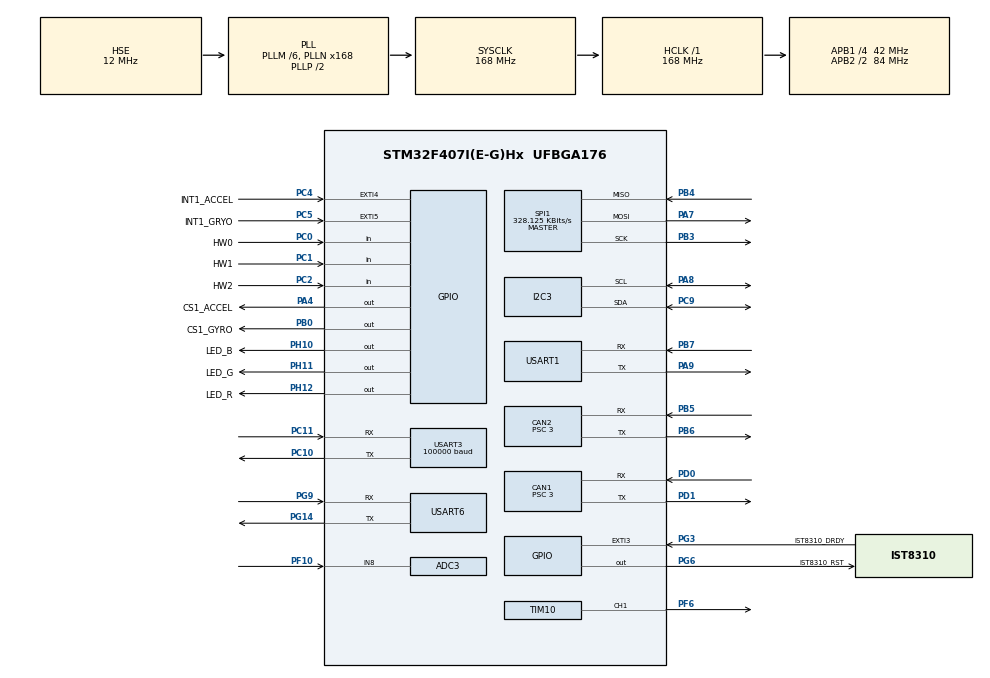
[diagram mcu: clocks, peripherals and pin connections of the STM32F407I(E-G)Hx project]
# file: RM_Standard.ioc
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ADC1.Channel-0\#ChannelRegularConversion=ADC_CHANNEL_VREFINT
ADC1.NbrOfConversionFlag=1
ADC1.Rank-0\#ChannelRegularConversion=1
ADC1.SamplingTime-0\#ChannelRegularConversion=ADC_SAMPLETIME_3CYCLES
ADC1.master=1
ADC3.Channel-0\#ChannelRegularConversion=ADC_CHANNEL_8
ADC3.NbrOfConversionFlag=1
ADC3.Rank-0\#ChannelRegularConversion=1
ADC3.SamplingTime-0\#ChannelRegularConversion=ADC_SAMPLETIME_3CYCLES
CAN1.BS1=CAN_BS1_10TQ
CAN1.BS2=CAN_BS2_3TQ
CAN1.CalculateBaudRate=1000000
CAN1.CalculateTimeBit=1000
CAN1.CalculateTimeQuantum=71.42857142857143
CAN1.Prescaler=3
CAN2.BS1=CAN_BS1_10TQ
CAN2.BS2=CAN_BS2_3TQ
CAN2.CalculateBaudRate=1000000
CAN2.CalculateTimeBit=1000
CAN2.CalculateTimeQuantum=71.42857142857143
CAN2.Prescaler=3
Dma.Request0=SPI1_RX
Dma.Request1=SPI1_TX
Dma.Request2=USART1_TX
Dma.Request3=USART3_RX
Dma.Request4=USART6_RX
Dma.Request5=USART6_TX
Dma.SPI1_RX.0.Direction=DMA_PERIPH_TO_MEMORY
Dma.SPI1_RX.0.FIFOMode=DMA_FIFOMODE_DISABLE
Dma.SPI1_RX.0.Instance=DMA2_Stream2
Dma.SPI1_RX.0.MemDataAlignment=DMA_MDATAALIGN_BYTE
Dma.SPI1_RX.0.MemInc=DMA_MINC_ENABLE
Dma.SPI1_RX.0.Mode=DMA_NORMAL
Dma.SPI1_RX.0.PeriphDataAlignment=DMA_PDATAALIGN_BYTE
Dma.SPI1_RX.0.PeriphInc=DMA_PINC_DISABLE
Dma.SPI1_RX.0.Priority=DMA_PRIORITY_VERY_HIGH
Dma.SPI1_TX.1.Direction=DMA_MEMORY_TO_PERIPH
Dma.SPI1_TX.1.FIFOMode=DMA_FIFOMODE_DISABLE
Dma.SPI1_TX.1.Instance=DMA2_Stream3
Dma.SPI1_TX.1.MemDataAlignment=DMA_MDATAALIGN_BYTE
Dma.SPI1_TX.1.MemInc=DMA_MINC_ENABLE
Dma.SPI1_TX.1.Mode=DMA_NORMAL
Dma.SPI1_TX.1.PeriphDataAlignment=DMA_PDATAALIGN_BYTE
Dma.SPI1_TX.1.PeriphInc=DMA_PINC_DISABLE
Dma.SPI1_TX.1.Priority=DMA_PRIORITY_HIGH
Dma.USART1_TX.2.Direction=DMA_MEMORY_TO_PERIPH
Dma.USART1_TX.2.FIFOMode=DMA_FIFOMODE_DISABLE
Dma.USART1_TX.2.Instance=DMA2_Stream7
Dma.USART1_TX.2.MemDataAlignment=DMA_MDATAALIGN_BYTE
Dma.USART1_TX.2.MemInc=DMA_MINC_ENABLE
Dma.USART1_TX.2.Mode=DMA_NORMAL
Dma.USART1_TX.2.PeriphDataAlignment=DMA_PDATAALIGN_BYTE
Dma.USART1_TX.2.PeriphInc=DMA_PINC_DISABLE
Dma.USART1_TX.2.Priority=DMA_PRIORITY_VERY_HIGH
Dma.USART3_RX.3.Direction=DMA_PERIPH_TO_MEMORY
Dma.USART3_RX.3.FIFOMode=DMA_FIFOMODE_DISABLE
Dma.USART3_RX.3.Instance=DMA1_Stream1
Dma.USART3_RX.3.MemDataAlignment=DMA_MDATAALIGN_BYTE
Dma.USART3_RX.3.MemInc=DMA_MINC_ENABLE
Dma.USART3_RX.3.Mode=DMA_CIRCULAR
Dma.USART3_RX.3.PeriphDataAlignment=DMA_PDATAALIGN_BYTE
Dma.USART3_RX.3.PeriphInc=DMA_PINC_DISABLE
Dma.USART3_RX.3.Priority=DMA_PRIORITY_VERY_HIGH
Dma.USART6_RX.4.Direction=DMA_PERIPH_TO_MEMORY
Dma.USART6_RX.4.FIFOMode=DMA_FIFOMODE_DISABLE
Dma.USART6_RX.4.Instance=DMA2_Stream1
Dma.USART6_RX.4.MemDataAlignment=DMA_MDATAALIGN_BYTE
Dma.USART6_RX.4.MemInc=DMA_MINC_ENABLE
Dma.USART6_RX.4.Mode=DMA_NORMAL
Dma.USART6_RX.4.PeriphDataAlignment=DMA_PDATAALIGN_BYTE
Dma.USART6_RX.4.PeriphInc=DMA_PINC_DISABLE
Dma.USART6_RX.4.Priority=DMA_PRIORITY_HIGH
Dma.USART6_TX.5.Direction=DMA_MEMORY_TO_PERIPH
Dma.USART6_TX.5.FIFOMode=DMA_FIFOMODE_DISABLE
Dma.USART6_TX.5.Instance=DMA2_Stream6
Dma.USART6_TX.5.MemDataAlignment=DMA_MDATAALIGN_BYTE
Dma.USART6_TX.5.MemInc=DMA_MINC_ENABLE
Dma.USART6_TX.5.Mode=DMA_NORMAL
Dma.USART6_TX.5.PeriphDataAlignment=DMA_PDATAALIGN_BYTE
Dma.USART6_TX.5.PeriphInc=DMA_PINC_DISABLE
Dma.USART6_TX.5.Priority=DMA_PRIORITY_MEDIUM
FREERTOS.Tasks01=defaultTask,0,128,StartDefaultTask,Default,NULL,Dynamic,NULL,NULL;LED_BLUE,0,128,blue_led_task,As external,NULL,Dynamic,NULL,NULL;SysStatus,0,128,entry_SysStatus,As external,NULL,Dynamic,NULL,NULL;CAN_motor,0,128,entry_motor,As external,NULL,Dynamic,NULL,NULL
I2C3.I2C_Mode=I2C_Fast
Mcu.Family=STM32F4
Mcu.Name=STM32F407I(E-G)Hx
Mcu.Package=UFBGA176
NVIC.CAN1_RX0_IRQn=true\:5\:0\:false\:false\:true\:true\:true\:true\:true
NVIC.DMA1_Stream1_IRQn=true\:5\:0\:false\:false\:true\:true\:false\:true\:true
NVIC.DMA2_Stream1_IRQn=true\:5\:0\:false\:false\:true\:true\:false\:true\:true
NVIC.DMA2_Stream2_IRQn=true\:5\:0\:true\:false\:true\:true\:false\:true\:true
NVIC.DMA2_Stream3_IRQn=true\:5\:0\:false\:false\:true\:true\:false\:true\:true
NVIC.DMA2_Stream6_IRQn=true\:5\:0\:false\:false\:true\:true\:false\:true\:true
NVIC.DMA2_Stream7_IRQn=true\:5\:0\:false\:false\:true\:true\:false\:true\:true
NVIC.EXTI3_IRQn=true\:5\:0\:false\:false\:true\:true\:true\:true\:true
NVIC.EXTI4_IRQn=true\:5\:0\:false\:false\:true\:true\:true\:true\:true
NVIC.PriorityGroup=NVIC_PRIORITYGROUP_4
NVIC.TIM1_UP_TIM10_IRQn=true\:5\:0\:false\:false\:true\:false\:false\:true\:true
NVIC.USART1_IRQn=true\:5\:0\:false\:false\:true\:true\:true\:true\:true
NVIC.USART3_IRQn=true\:5\:0\:false\:false\:true\:true\:true\:true\:true
NVIC.USART6_IRQn=true\:5\:0\:false\:false\:true\:true\:true\:true\:true
PA13.Mode=Serial_Wire
PA13.Signal=SYS_JTMS-SWDIO
PA14.Mode=Serial_Wire
PA14.Signal=SYS_JTCK-SWCLK
PA4.GPIO_Label=CS1_ACCEL
PA4.GPIO_PuPd=GPIO_PULLUP
PA4.GPIO_Speed=GPIO_SPEED_FREQ_HIGH
PA4.PinState=GPIO_PIN_SET
PA4.Signal=GPIO_Output
PA7.Mode=Full_Duplex_Master
PA7.Signal=SPI1_MOSI
PA8.Mode=I2C
PA8.Signal=I2C3_SCL
PA9.Mode=Asynchronous
PA9.Signal=USART1_TX
PB0.GPIO_Label=CS1_GYRO
PB0.GPIO_PuPd=GPIO_PULLUP
PB0.GPIO_Speed=GPIO_SPEED_FREQ_HIGH
PB0.PinState=GPIO_PIN_SET
PB0.Signal=GPIO_Output
PB3.Mode=Full_Duplex_Master
PB3.Signal=SPI1_SCK
PB4.Mode=Full_Duplex_Master
PB4.Signal=SPI1_MISO
PB5.Mode=CAN_Activate
PB5.Signal=CAN2_RX
PB6.Mode=CAN_Activate
PB6.Signal=CAN2_TX
PB7.Mode=Asynchronous
PB7.Signal=USART1_RX
PC0.GPIO_Label=HW0
PC0.Signal=GPIO_Input
PC1.GPIO_Label=HW1
PC1.Signal=GPIO_Input
PC10.GPIO_PuPd=GPIO_PULLUP
PC10.Mode=Asynchronous
PC10.Signal=USART3_TX
PC11.GPIO_PuPd=GPIO_PULLUP
PC11.Mode=Asynchronous
PC11.Signal=USART3_RX
PC2.GPIO_Label=HW2
PC2.Signal=GPIO_Input
PC4.GPIO_Label=INT1_ACCEL
PC4.GPIO_PuPd=GPIO_PULLUP
PC4.Signal=GPXTI4
PC5.GPIO_Label=INT1_GRYO
PC5.GPIO_PuPd=GPIO_PULLUP
PC5.Signal=GPXTI5
PC9.Mode=I2C
PC9.Signal=I2C3_SDA
PD0.Mode=CAN_Activate
PD0.Signal=CAN1_RX
PD1.Mode=CAN_Activate
PD1.Signal=CAN1_TX
PF10.Mode=IN8
PF10.Signal=ADC3_IN8
PF6.GPIO_ModeDefaultPP=GPIO_MODE_AF_PP
PF6.GPIO_PuPd=GPIO_PULLUP
PF6.GPIO_Speed=GPIO_SPEED_FREQ_HIGH
PF6.Signal=S_TIM10_CH1
PG14.Mode=Asynchronous
PG14.Signal=USART6_TX
PG3.GPIO_Label=IST8310_DRDY
PG3.GPIO_ModeDefaultEXTI=GPIO_MODE_IT_FALLING
PG3.GPIO_PuPd=GPIO_PULLUP
PG3.Signal=GPXTI3
PG6.GPIO_Label=IST8310_RST
PG6.GPIO_PuPd=GPIO_PULLUP
PG6.GPIO_Speed=GPIO_SPEED_FREQ_MEDIUM
PG6.PinState=GPIO_PIN_SET
PG6.Signal=GPIO_Output
PG9.Mode=Asynchronous
PG9.Signal=USART6_RX
PH0-OSC_IN.Mode=HSE-External-Oscillator
PH0-OSC_IN.Signal=RCC_OSC_IN
PH1-OSC_OUT.Mode=HSE-External-Oscillator
PH1-OSC_OUT.Signal=RCC_OSC_OUT
PH10.GPIO_Label=LED_B
PH10.Signal=GPIO_Output
PH11.GPIO_Label=LED_G
PH11.Signal=GPIO_Output
PH12.GPIO_Label=LED_R
PH12.Signal=GPIO_Output
ProjectManager.HeapSize=0x200
ProjectManager.StackSize=0x400
ProjectManager.TargetToolchain=MDK-ARM V5.32
RCC.48MHZClocksFreq_Value=84000000
RCC.AHBFreq_Value=168000000
RCC.APB1CLKDivider=RCC_HCLK_DIV4
RCC.APB1Freq_Value=42000000
RCC.APB1TimFreq_Value=84000000
RCC.APB2CLKDivider=RCC_HCLK_DIV2
RCC.APB2Freq_Value=84000000
RCC.APB2TimFreq_Value=168000000
RCC.CortexFreq_Value=168000000
RCC.HCLKFreq_Value=168000000
RCC.HSE_VALUE=12000000
RCC.HSI_VALUE=16000000
RCC.LSE_VALUE=32768
RCC.PLLM=6
RCC.PLLN=168
RCC.PLLSourceVirtual=RCC_PLLSOURCE_HSE
RCC.SYSCLKFreq_VALUE=168000000
RCC.SYSCLKSource=RCC_SYSCLKSOURCE_PLLCLK
RCC.VCOOutputFreq_Value=336000000
SH.S_TIM10_CH1.0=TIM10_CH1,PWM Generation1 CH1
SPI1.BaudRatePrescaler=SPI_BAUDRATEPRESCALER_256
SPI1.CLKPhase=SPI_PHASE_2EDGE
SPI1.CLKPolarity=SPI_POLARITY_HIGH
SPI1.CalculateBaudRate=328.125 KBits/s
SPI1.Direction=SPI_DIRECTION_2LINES
SPI1.Mode=SPI_MODE_MASTER
SPI1.VirtualType=VM_MASTER
TIM10.Channel=TIM_CHANNEL_1
TIM10.Period=4999
USART1.VirtualMode=VM_ASYNC
USART3.BaudRate=100000
USART3.Mode=MODE_RX
USART3.Parity=PARITY_EVEN
USART3.VirtualMode=VM_ASYNC
USART6.VirtualMode=VM_ASYNC
VP_ADC1_Vref_Input.Mode=IN-Vrefint
VP_FREERTOS_VS_CMSIS_V1.Mode=CMSIS_V1
VP_TIM10_VS_ClockSourceINT.Mode=Enable_Timer
board=custom

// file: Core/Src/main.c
/* USER CODE BEGIN Header */
/**
  ******************************************************************************
  * @file           : main.c
  * @brief          : Main program body
  ******************************************************************************
  * @attention
  *
  * Copyright (c) 2022 STMicroelectronics.
  * All rights reserved.
  *
  * This software is licensed under terms that can be found in the LICENSE file
  * in the root directory of this software component.
  * If no LICENSE file comes with this software, it is provided AS-IS.
  *
  ******************************************************************************
  */
/* USER CODE END Header */
#include "main.h"
#include "cmsis_os.h"
#include "adc.h"
#include "can.h"
#include "dma.h"
#include "i2c.h"
#include "spi.h"
#include "tim.h"
#include "usart.h"
#include "gpio.h"

/* USER CODE BEGIN Includes */
#include "struct_typedef.h"
#include "bsp_usart.h"
#include "BMI088driver.h"
#include "ist8310driver.h"
#include "remote_control.h"
/* USER CODE END Includes */

void SystemClock_Config(void);
void MX_FREERTOS_Init(void);
/* USER CODE BEGIN PFP */
// void init_vrefint_reciprocal(void);
fp32 get_temprate(void);
fp32 get_battery_voltage(void);
uint8_t get_hardware_version(void);
/* USER CODE END PFP */

/* USER CODE BEGIN 0 */
uint8_t handware_version;
// ADC
// volatile fp32 voltage_vrefint_proportion = 8.0586080586080586080586080586081e-4f;
fp32 voltage, temperature;

// BMI088
fp32 gyro[3], accel[3], temp;
// IST8310
fp32 mag[3];
// RC

// Motor
int16_t current = 164;
fp32 ref = 0;
fp32 set = 0;

void HAL_GPIO_EXTI_Callback(uint16_t GPIO_Pin)
{
    if(GPIO_Pin == IST8310_DRDY_Pin)
    {
        ist8310_read_mag(mag);
    }

}

/* USER CODE END 0 */

int main(void)
{

  /* MCU Configuration--------------------------------------------------------*/

  /* Reset of all peripherals, Initializes the Flash interface and the Systick. */
  HAL_Init();

  /* Configure the system clock */
  SystemClock_Config();

  /* Initialize all configured peripherals */
  MX_GPIO_Init();
  MX_DMA_Init();
  MX_CAN1_Init();
  MX_CAN2_Init();
  MX_USART1_UART_Init();
  MX_USART6_UART_Init();
  MX_ADC1_Init();
  MX_ADC3_Init();
  MX_SPI1_Init();
  MX_TIM10_Init();
  MX_I2C3_Init();
  MX_USART3_UART_Init();
  /* USER CODE BEGIN 2 */
  // Init()
  usart6_tx_dma_init();
	remote_control_init();
  /* USER CODE END 2 */

  /* Call init function for freertos objects (in freertos.c) */
  MX_FREERTOS_Init();

  /* Start scheduler */
  osKernelStart();

  /* We should never get here as control is now taken by the scheduler */
  /* Infinite loop */
  while (1)
  {

  }
}

void SystemClock_Config(void)
{
  RCC_OscInitTypeDef RCC_OscInitStruct = {0};
  RCC_ClkInitTypeDef RCC_ClkInitStruct = {0};

  /** Configure the main internal regulator output voltage
  */
  __HAL_RCC_PWR_CLK_ENABLE();
  __HAL_PWR_VOLTAGESCALING_CONFIG(PWR_REGULATOR_VOLTAGE_SCALE1);

  /** Initializes the RCC Oscillators according to the specified parameters
  * in the RCC_OscInitTypeDef structure.
  */
  RCC_OscInitStruct.OscillatorType = RCC_OSCILLATORTYPE_HSE;
  RCC_OscInitStruct.HSEState = RCC_HSE_ON;
  RCC_OscInitStruct.PLL.PLLState = RCC_PLL_ON;
  RCC_OscInitStruct.PLL.PLLSource = RCC_PLLSOURCE_HSE;
  RCC_OscInitStruct.PLL.PLLM = 6;
  RCC_OscInitStruct.PLL.PLLN = 168;
  RCC_OscInitStruct.PLL.PLLP = RCC_PLLP_DIV2;
  RCC_OscInitStruct.PLL.PLLQ = 4;
  if (HAL_RCC_OscConfig(&RCC_OscInitStruct) != HAL_OK)
  {
    Error_Handler();
  }

  /** Initializes the CPU, AHB and APB buses clocks
  */
  RCC_ClkInitStruct.ClockType = RCC_CLOCKTYPE_HCLK|RCC_CLOCKTYPE_SYSCLK
                              |RCC_CLOCKTYPE_PCLK1|RCC_CLOCKTYPE_PCLK2;
  RCC_ClkInitStruct.SYSCLKSource = RCC_SYSCLKSOURCE_PLLCLK;
  RCC_ClkInitStruct.AHBCLKDivider = RCC_SYSCLK_DIV1;
  RCC_ClkInitStruct.APB1CLKDivider = RCC_HCLK_DIV4;
  RCC_ClkInitStruct.APB2CLKDivider = RCC_HCLK_DIV2;

  if (HAL_RCC_ClockConfig(&RCC_ClkInitStruct, FLASH_LATENCY_5) != HAL_OK)
  {
    Error_Handler();
  }
}

void Error_Handler(void)
{
  __disable_irq();
  while (1)
  {
  }
}

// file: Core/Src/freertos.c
/* USER CODE BEGIN Header */
/**
  ******************************************************************************
  * File Name          : freertos.c
  * Description        : Code for freertos applications
  ******************************************************************************
  * @attention
  *
  * Copyright (c) 2022 STMicroelectronics.
  * All rights reserved.
  *
  * This software is licensed under terms that can be found in the LICENSE file
  * in the root directory of this software component.
  * If no LICENSE file comes with this software, it is provided AS-IS.
  *
  ******************************************************************************
  */
/* USER CODE END Header */

#include "FreeRTOS.h"
#include "task.h"
#include "main.h"
#include "cmsis_os.h"

/* USER CODE BEGIN Includes */
#include "task_SysStatus.h"
#include "task_led.h"
/* USER CODE END Includes */

osThreadId defaultTaskHandle;
osThreadId LED_BLUEHandle;
osThreadId SysStatusHandle;
osThreadId CAN_motorHandle;

void StartDefaultTask(void const * argument);
extern void blue_led_task(void const * argument);
extern void entry_SysStatus(void const * argument);
extern void entry_motor(void const * argument);

void MX_FREERTOS_Init(void); /* (MISRA C 2004 rule 8.1) */

/* GetIdleTaskMemory prototype (linked to static allocation support) */
void vApplicationGetIdleTaskMemory( StaticTask_t **ppxIdleTaskTCBBuffer, StackType_t **ppxIdleTaskStackBuffer, uint32_t *pulIdleTaskStackSize );

/* USER CODE BEGIN GET_IDLE_TASK_MEMORY */
static StaticTask_t xIdleTaskTCBBuffer;
static StackType_t xIdleStack[configMINIMAL_STACK_SIZE];

void vApplicationGetIdleTaskMemory( StaticTask_t **ppxIdleTaskTCBBuffer, StackType_t **ppxIdleTaskStackBuffer, uint32_t *pulIdleTaskStackSize )
{
  *ppxIdleTaskTCBBuffer = &xIdleTaskTCBBuffer;
  *ppxIdleTaskStackBuffer = &xIdleStack[0];
  *pulIdleTaskStackSize = configMINIMAL_STACK_SIZE;
  /* place for user code */
}
/* USER CODE END GET_IDLE_TASK_MEMORY */

void MX_FREERTOS_Init(void) {

  /* Create the thread(s) */
  /* definition and creation of defaultTask */
  osThreadDef(defaultTask, StartDefaultTask, osPriorityNormal, 0, 128);
  defaultTaskHandle = osThreadCreate(osThread(defaultTask), NULL);

  /* definition and creation of LED_BLUE */
  osThreadDef(LED_BLUE, blue_led_task, osPriorityNormal, 0, 128);
  LED_BLUEHandle = osThreadCreate(osThread(LED_BLUE), NULL);

  /* definition and creation of SysStatus */
  osThreadDef(SysStatus, entry_SysStatus, osPriorityNormal, 0, 128);
  SysStatusHandle = osThreadCreate(osThread(SysStatus), NULL);

  /* definition and creation of CAN_motor */
  osThreadDef(CAN_motor, entry_motor, osPriorityNormal, 0, 128);
  CAN_motorHandle = osThreadCreate(osThread(CAN_motor), NULL);

}

void StartDefaultTask(void const * argument)
{
  for(;;)
  {
    osDelay(1);
  }
}
